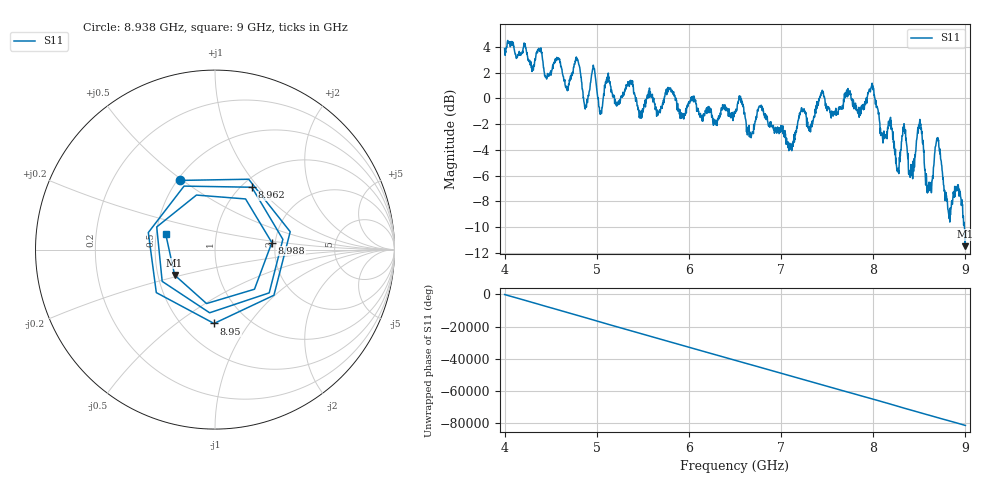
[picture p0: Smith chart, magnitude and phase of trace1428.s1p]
! Created with skrf 1.8.0 (http://scikit-rf.org).
# Hz S RI R 50.0
!freq ReS11 ImS11
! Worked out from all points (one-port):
!   1601 points, 4 GHz to 9 GHz, reference 50 ohm
!   lowest |S11| = -11.5 dB at 8.997 GHz (marker M1), VSWR 1.72, Z = 30.6 - j9.33 ohm
!   |S11| at or under -10 dB: 8.989155 GHz to end of sweep
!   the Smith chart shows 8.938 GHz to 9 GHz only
!   S11 on the Smith chart (normalised r, x): 8.938 GHz: 0.52, +0.49; 8.95 GHz: 0.70, -0.70; 8.962 GHz: 1.11, +0.92; 8.988 GHz: 1.92, +0.17; 9 GHz: 0.56, +0.11
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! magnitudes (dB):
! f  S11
! 4 GHz  3.9
! 4.625 GHz  2.1
! 4.791 GHz  3.0
! 4.878 GHz  -0.6
! 4.962 GHz  2.6
! 5.25 GHz  -0.3
! 5.875 GHz  -0.5
! 6.5 GHz  -1.1
! 7.125 GHz  -3.7
! 7.225 GHz  -0.8
! 7.75 GHz  0.5
! 7.988 GHz  1.2
! 8.1 GHz  -3.0
! 8.191 GHz  -2.4
! 8.256 GHz  -5.6
! 8.331 GHz  -2.3
! 8.375 GHz  -4.7
! 8.416 GHz  -5.7
! 8.506 GHz  -1.6
! 8.606 GHz  -6.5
! 8.697 GHz  -3.3
! 8.822 GHz  -9.2
! 8.938 GHz  -7.3
! 8.95 GHz  -7.7
! 8.962 GHz  -7.9
! 8.988 GHz  -9.9
! 8.997 GHz  -11.5
! 9 GHz  -10.8
